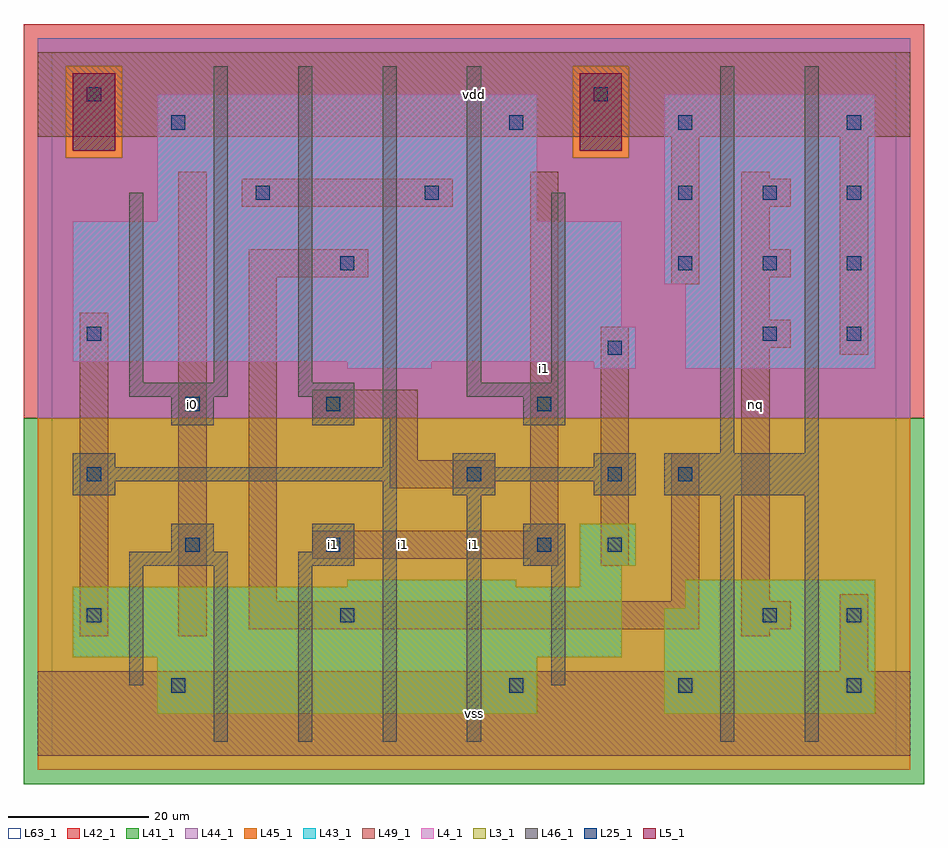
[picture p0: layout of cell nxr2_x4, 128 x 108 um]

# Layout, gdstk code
import gdstk
lib = gdstk.Library(unit=1e-6, precision=1e-09)
def R(c, l, rs):  # rectangles x0, y0, x1, y1
    for r in rs: c.add(gdstk.rectangle(r[:2], r[2:], *l))
def A(c, l, x, y, w, h, nx, ny, dx, dy):  # array of equal rectangles
    R(c, l, [(x+i*dx, y+j*dy, x+i*dx+w, y+j*dy+h) for i in range(nx) for j in range(ny)])
L3_1 = (3, 1)
L4_1 = (4, 1)
L5_1 = (5, 1)
L25_1 = (25, 1)
L41_1 = (41, 1)
L42_1 = (42, 1)
L43_1 = (43, 1)
L44_1 = (44, 1)
L45_1 = (45, 1)
L46_1 = (46, 1)
L49_1 = (49, 1)
L63_1 = (63, 1)

nxr2_x4 = lib.new_cell('nxr2_x4')
R(nxr2_x4, L3_1, [(15,6,69,14), (87,6,117,21), (3,14,81,24), (90,21,117,25), (42,24,66,25), (75,24,81,27), (75,27,83,33)])
R(nxr2_x4, L4_1, [(42,55,54,56), (77,55,83,56), (90,55,117,67), (3,56,83,61), (3,61,81,76), (87,67,117,94), (15,76,69,94)])
R(nxr2_x4, L5_1, [(3,86,9,97), (75,86,81,97)])
A(nxr2_x4, L25_1, 65, 9, 2, 2, 3, 2, 24, 80)
A(nxr2_x4, L25_1, 5, 19, 2, 2, 1, 3, 0, 20)
A(nxr2_x4, L25_1, 89, 69, 2, 2, 3, 2, 12, 10)
R(nxr2_x4, L25_1, [(17,9,19,11), (41,19,43,21), (101,19,103,21), (113,19,115,21), (19,29,21,31), (39,29,41,31), (69,29,71,31), (79,29,81,31), (59,39,61,41), (79,39,81,41), (89,39,91,41), (19,49,21,51), (39,49,41,51), (69,49,71,51), (79,57,81,59), (101,59,103,61), (113,59,115,61), (41,69,43,71), (29,79,31,81), (53,79,55,81), (17,89,19,91), (5,93,7,95), (77,93,79,95)])
R(nxr2_x4, L41_1, [(-4,-4,124,48)])
R(nxr2_x4, L42_1, [(-4,48,124,104)])
R(nxr2_x4, L43_1, [(15,6,69,14), (87,6,117,21), (3,14,81,24), (90,21,117,25), (42,24,66,25), (75,24,81,27), (75,27,83,33), (42,55,54,56), (77,55,83,56), (90,55,117,67), (3,56,83,61), (3,61,81,76), (87,67,117,94), (15,76,69,94), (3,86,9,97), (75,86,81,97)])
R(nxr2_x4, L44_1, [(-2,48,122,85), (-2,85,2,98), (10,85,74,98), (82,85,122,98), (-2,98,122,102)])
R(nxr2_x4, L45_1, [(-2,-2,122,48), (2,85,10,98), (74,85,82,98)])
R(nxr2_x4, L46_1, [(23,2,25,27), (35,2,37,27), (47,2,49,39), (59,2,61,37), (95,2,97,37), (107,2,109,37), (11,10,13,27), (71,10,73,27), (11,27,25,29), (35,27,43,29), (67,27,73,33), (17,29,23,33), (37,29,43,33), (3,37,9,39), (57,37,63,39), (77,37,83,39), (87,37,109,43), (3,39,49,41), (57,39,83,41), (3,41,9,43), (47,41,49,98), (57,41,63,43), (77,41,83,43), (95,43,97,98), (107,43,109,98), (17,47,23,51), (37,47,43,51), (67,47,73,51), (11,51,25,53), (35,51,43,53), (59,51,73,53), (11,53,13,80), (23,53,25,98), (35,53,37,98), (59,53,61,98), (71,53,73,80)])
A(nxr2_x4, L49_1, 98, 58, 7, 4, 1, 3, 0, 10)
R(nxr2_x4, L49_1, [(-2,0,122,12), (112,12,116,23), (4,17,8,63), (18,17,22,83), (98,17,102,18), (28,18,92,22), (98,18,105,22), (28,22,32,68), (88,22,92,43), (98,22,102,58), (68,27,72,28), (78,27,82,61), (37,28,72,32), (68,32,72,83), (48,38,63,42), (48,42,52,48), (37,48,52,52), (112,57,116,88), (98,62,102,68), (88,67,92,88), (28,68,45,72), (98,72,102,78), (27,78,57,82), (98,82,102,83), (-2,88,122,100)])
R(nxr2_x4, L63_1, [(0,0,120,100)])
nxr2_x4.add(gdstk.Label('i1', (40,30), layer=49, texttype=1))
nxr2_x4.add(gdstk.Label('i0', (20,50), layer=49, texttype=1))
nxr2_x4.add(gdstk.Label('vss', (60,6), layer=49, texttype=1))
nxr2_x4.add(gdstk.Label('i1', (50,30), layer=49, texttype=1))
nxr2_x4.add(gdstk.Label('i1', (60,30), layer=49, texttype=1))
nxr2_x4.add(gdstk.Label('vdd', (60,94), layer=49, texttype=1))
nxr2_x4.add(gdstk.Label('i1', (70,55), layer=49, texttype=1))
nxr2_x4.add(gdstk.Label('nq', (100,50), layer=49, texttype=1))

lib.write_gds('nxr2_x4.gds')
